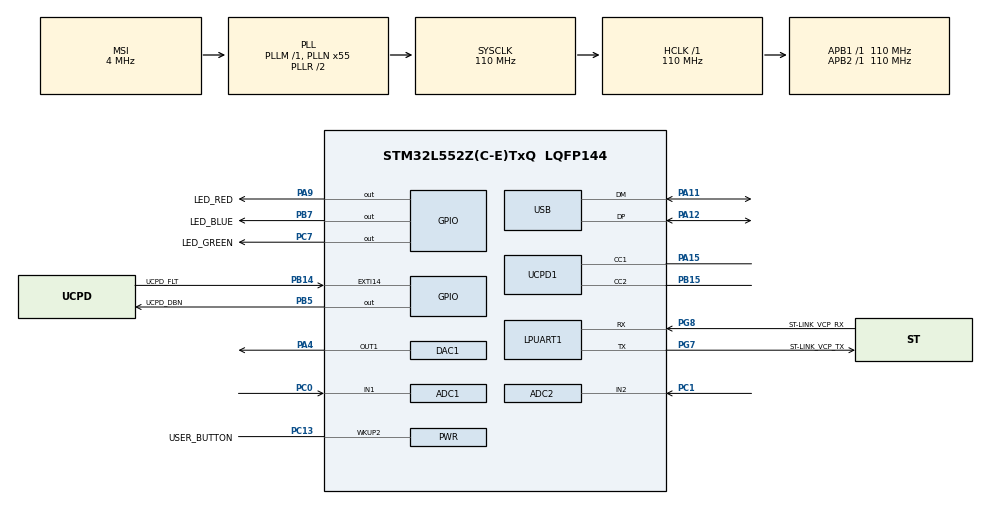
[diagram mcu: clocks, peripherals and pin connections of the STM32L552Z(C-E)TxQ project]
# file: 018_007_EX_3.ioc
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ADC1.Channel-1\#ChannelRegularConversion=ADC_CHANNEL_1
ADC1.NbrOfConversionFlag=1
ADC1.OffsetNumber-1\#ChannelRegularConversion=ADC_OFFSET_NONE
ADC1.Rank-1\#ChannelRegularConversion=1
ADC1.SamplingTime-1\#ChannelRegularConversion=ADC_SAMPLETIME_2CYCLES_5
ADC1.master=1
ADC2.Channel-0\#ChannelRegularConversion=ADC_CHANNEL_2
ADC2.NbrOfConversionFlag=1
ADC2.OffsetNumber-0\#ChannelRegularConversion=ADC_OFFSET_NONE
ADC2.Rank-0\#ChannelRegularConversion=1
ADC2.SamplingTime-0\#ChannelRegularConversion=ADC_SAMPLETIME_2CYCLES_5
Mcu.Family=STM32L5
Mcu.Name=STM32L552Z(C-E)TxQ
Mcu.Package=LQFP144
Mcu.TrustZone=disable
NVIC.PriorityGroup=NVIC_PRIORITYGROUP_3
PA11.Mode=Device
PA11.Signal=USB_DM
PA12.Mode=Device
PA12.Signal=USB_DP
PA13\ (JTMS/SWDIO).Mode=Trace_Asynchronous_SW
PA13\ (JTMS/SWDIO).Signal=DEBUG_JTMS-SWDIO
PA14\ (JTCK/SWCLK).Mode=Trace_Asynchronous_SW
PA14\ (JTCK/SWCLK).Signal=DEBUG_JTCK-SWCLK
PA15\ (JTDI).Mode=Source_AllSignals
PA15\ (JTDI).Signal=UCPD1_CC1
PA4.Signal=COMP_DAC11_group
PA9.GPIO_Label=LED_RED
PA9.Signal=GPIO_Output
PB14.GPIO_Label=UCPD_FLT
PB14.Signal=GPXTI14
PB15.Mode=Source_AllSignals
PB15.Signal=UCPD1_CC2
PB3\ (JTDO/TRACESWO).Mode=Trace_Asynchronous_SW
PB3\ (JTDO/TRACESWO).Signal=DEBUG_JTDO-SWO
PB5.GPIO_Label=UCPD_DBN
PB5.Signal=GPIO_Output
PB7.GPIO_Label=LED_BLUE
PB7.Signal=GPIO_Output
PC0.Signal=ADCx_IN1
PC1.Signal=ADCx_IN2
PC13.GPIO_Label=USER_BUTTON
PC13.Mode=WakeUp1
PC13.Signal=PWR_WKUP2
PC14-OSC32_IN\ (PC14).Mode=LSE-External-Oscillator
PC14-OSC32_IN\ (PC14).Signal=RCC_OSC32_IN
PC15-OSC32_OUT\ (PC15).Mode=LSE-External-Oscillator
PC15-OSC32_OUT\ (PC15).Signal=RCC_OSC32_OUT
PC2.GPIO_Label=VBUS_SENSE
PC2.Signal=ADCx_IN3
PC7.GPIO_Label=LED_GREEN
PC7.Signal=GPIO_Output
PG7.GPIO_Label=ST-LINK_VCP_TX
PG7.Mode=Asynchronous
PG7.Signal=LPUART1_TX
PG8.GPIO_Label=ST-LINK_VCP_RX
PG8.Mode=Asynchronous
PG8.Signal=LPUART1_RX
ProjectManager.HeapSize=0x200
ProjectManager.StackSize=0x400
ProjectManager.TargetToolchain=STM32CubeIDE
RCC.ADCCLockSelection=RCC_ADCCLKSOURCE_SYSCLK
RCC.ADCFreq_Value=110000000
RCC.AHBFreq_Value=110000000
RCC.APB1Freq_Value=110000000
RCC.APB1TimFreq_Value=110000000
RCC.APB2Freq_Value=110000000
RCC.APB2TimFreq_Value=110000000
RCC.CK48CLockSelection=RCC_USBCLKSOURCE_HSI48
RCC.CortexFreq_Value=110000000
RCC.HCLKFreq_Value=110000000
RCC.HSE_VALUE=8000000
RCC.HSI48_VALUE=48000000
RCC.HSI_VALUE=16000000
RCC.MSI_VALUE=4000000
RCC.PLLN=55
RCC.PLLSAI1N=24
RCC.RTCClockSelection=RCC_RTCCLKSOURCE_LSE
RCC.SYSCLKFreq_VALUE=110000000
RCC.SYSCLKSource=RCC_SYSCLKSOURCE_PLLCLK
RCC.USBFreq_Value=48000000
RCC.VCOOutputFreq_Value=220000000
SH.ADCx_IN1.0=ADC1_IN1,IN1-Single-Ended
SH.ADCx_IN2.0=ADC2_IN2,IN2-Single-Ended
SH.ADCx_IN3.0=ADC1_IN3
SH.COMP_DAC11_group.0=DAC1_OUT1,DAC_OUT1_ExtAndInt
VP_PWR_VS_DBSignals.Mode=DisableDeadBatterySignals
VP_RTC_VS_RTC_Activate.Mode=RTC_Enabled
board=NUCLEO-L552ZE-Q

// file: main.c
/* USER CODE BEGIN Header */
/**
  ******************************************************************************
  * @file           : main.c
  * @brief          : Main program body
  ******************************************************************************
  * @attention
  *
  * Copyright (c) 2022 STMicroelectronics.
  * All rights reserved.
  *
  * This software is licensed under terms that can be found in the LICENSE file
  * in the root directory of this software component.
  * If no LICENSE file comes with this software, it is provided AS-IS.
  *
  ******************************************************************************
  */
/* USER CODE END Header */
#include "main.h"

ADC_HandleTypeDef hadc1;
ADC_HandleTypeDef hadc2;

DAC_HandleTypeDef hdac1;

UART_HandleTypeDef hlpuart1;

RTC_HandleTypeDef hrtc;

PCD_HandleTypeDef hpcd_USB_FS;

void SystemClock_Config(void);
static void MX_GPIO_Init(void);
static void MX_ADC1_Init(void);
static void MX_LPUART1_UART_Init(void);
static void MX_RTC_Init(void);
static void MX_UCPD1_Init(void);
static void MX_USB_PCD_Init(void);
static void MX_ADC2_Init(void);
static void MX_DAC1_Init(void);

/* USER CODE BEGIN 0 */

uint16_t debug;
uint16_t debug1;
uint16_t debug2;
float debug3[1001]={};
uint16_t debug4;
uint16_t debug5;
uint16_t debug6;
float debug7 = 0;

uint16_t readValue;
float Vadc = 0;

uint16_t readValue2;
float Vadc2 = 0;

uint16_t change_voltage = 496;

double Vadc_values[1001] = {};
float b;
int d;
float f;

double temperature[1001] = {};

uint16_t output;

/* USER CODE END 0 */

int main(void)
{
  /* USER CODE BEGIN 1 */
	Vadc_values[0]=29;
	for(int a = 1; a < 1001; a++)
	{
		Vadc_values[a] = Vadc_values[a-1] + (21.5/20000) ;
	}

	temperature[0] = 20;
	for(int e = 1; e < 1001; e++)
	{
		temperature[e] = temperature[e-1] + 0.05;
	}

  /* USER CODE END 1 */

  /* MCU Configuration--------------------------------------------------------*/

  /* Reset of all peripherals, Initializes the Flash interface and the Systick. */
  HAL_Init();

  /* Configure the system clock */
  SystemClock_Config();

  /* Initialize all configured peripherals */
  MX_GPIO_Init();
  MX_ADC1_Init();
  MX_LPUART1_UART_Init();
  MX_RTC_Init();
  MX_UCPD1_Init();
  MX_USB_PCD_Init();
  MX_ADC2_Init();
  MX_DAC1_Init();
  /* USER CODE BEGIN 2 */

  // Enable the DAC channel
  HAL_DAC_Start(&hdac1, DAC_CHANNEL_1);

  /* USER CODE END 2 */

  /* Infinite loop */
  /* USER CODE BEGIN WHILE */
  while (1)
  {

  	  // Voltage can be change continuously using potentiometer
  	  // ADC1 and ADC2
      HAL_ADC_Start(&hadc1);
	  HAL_ADC_Start(&hadc2);

	  HAL_ADC_PollForConversion(&hadc1,1000000);
      HAL_ADC_PollForConversion(&hadc2,1000000);

      readValue = HAL_ADC_GetValue(&hadc1);
      readValue2 = HAL_ADC_GetValue(&hadc2);

      Vadc =  50.0 * readValue / 4095 + 20;
      Vadc2 = 3.3 * readValue2 / 4095;

      //For test
      debug7= change_voltage*1000.0/4095.0*75.0/1000.0;
      //For test

      HAL_ADC_Stop(&hadc1);
      HAL_ADC_Stop(&hadc2);

      HAL_Delay(100);

      // DAC
	  debug2 = HAL_DAC_SetValue(&hdac1, DAC1_CHANNEL_1, DAC_ALIGN_12B_R, change_voltage);

	  for(int c = 0; c < 1001; c++)
	  {
		  if(Vadc < temperature[c+1] && Vadc > temperature[c-1])
		  {
			  debug = c;
		  }

	  }

	  if(Vadc2*100/7*40 > Vadc_values[debug])
	  {
		  output=1;
	      if(output==1)
	      {
	    	  //change_voltage = readValue;
	    	  change_voltage = change_voltage - 1;
	      }
	  }

	  else if(Vadc2*100/7*40 < Vadc_values[debug])
	  {
		  output=2;
	      if(output==2 && change_voltage < 1800)
	      {
	    	  // DAC I ARTTIR
	    	  // change_voltage = readValue;
	    	  change_voltage = change_voltage + 1;
	      }
	  }

	  else if(Vadc2*100/7*40 == Vadc_values[debug])
	  {
		  output=0;
	      if(output==0)
	      {
	    	  // NOTHING
	      }
	  }
	  else
	  {
		  // ERROR
	  }

    /* USER CODE END WHILE */

  }
}

void SystemClock_Config(void)
{
  RCC_OscInitTypeDef RCC_OscInitStruct = {0};
  RCC_ClkInitTypeDef RCC_ClkInitStruct = {0};

  /** Configure the main internal regulator output voltage
  */
  if (HAL_PWREx_ControlVoltageScaling(PWR_REGULATOR_VOLTAGE_SCALE0) != HAL_OK)
  {
    Error_Handler();
  }

  /** Configure LSE Drive Capability
  */
  HAL_PWR_EnableBkUpAccess();
  __HAL_RCC_LSEDRIVE_CONFIG(RCC_LSEDRIVE_LOW);

  /** Initializes the RCC Oscillators according to the specified parameters
  * in the RCC_OscInitTypeDef structure.
  */
  RCC_OscInitStruct.OscillatorType = RCC_OSCILLATORTYPE_HSI48|RCC_OSCILLATORTYPE_LSE
                              |RCC_OSCILLATORTYPE_MSI;
  RCC_OscInitStruct.LSEState = RCC_LSE_ON;
  RCC_OscInitStruct.HSI48State = RCC_HSI48_ON;
  RCC_OscInitStruct.MSIState = RCC_MSI_ON;
  RCC_OscInitStruct.MSICalibrationValue = RCC_MSICALIBRATION_DEFAULT;
  RCC_OscInitStruct.MSIClockRange = RCC_MSIRANGE_6;
  RCC_OscInitStruct.PLL.PLLState = RCC_PLL_ON;
  RCC_OscInitStruct.PLL.PLLSource = RCC_PLLSOURCE_MSI;
  RCC_OscInitStruct.PLL.PLLM = 1;
  RCC_OscInitStruct.PLL.PLLN = 55;
  RCC_OscInitStruct.PLL.PLLP = RCC_PLLP_DIV7;
  RCC_OscInitStruct.PLL.PLLQ = RCC_PLLQ_DIV2;
  RCC_OscInitStruct.PLL.PLLR = RCC_PLLR_DIV2;
  if (HAL_RCC_OscConfig(&RCC_OscInitStruct) != HAL_OK)
  {
    Error_Handler();
  }

  /** Initializes the CPU, AHB and APB buses clocks
  */
  RCC_ClkInitStruct.ClockType = RCC_CLOCKTYPE_HCLK|RCC_CLOCKTYPE_SYSCLK
                              |RCC_CLOCKTYPE_PCLK1|RCC_CLOCKTYPE_PCLK2;
  RCC_ClkInitStruct.SYSCLKSource = RCC_SYSCLKSOURCE_PLLCLK;
  RCC_ClkInitStruct.AHBCLKDivider = RCC_SYSCLK_DIV1;
  RCC_ClkInitStruct.APB1CLKDivider = RCC_HCLK_DIV1;
  RCC_ClkInitStruct.APB2CLKDivider = RCC_HCLK_DIV1;

  if (HAL_RCC_ClockConfig(&RCC_ClkInitStruct, FLASH_LATENCY_5) != HAL_OK)
  {
    Error_Handler();
  }
}

static void MX_ADC1_Init(void)
{

  ADC_MultiModeTypeDef multimode = {0};
  ADC_ChannelConfTypeDef sConfig = {0};

  /** Common config
  */
  hadc1.Instance = ADC1;
  hadc1.Init.ClockPrescaler = ADC_CLOCK_ASYNC_DIV1;
  hadc1.Init.Resolution = ADC_RESOLUTION_12B;
  hadc1.Init.DataAlign = ADC_DATAALIGN_RIGHT;
  hadc1.Init.ScanConvMode = ADC_SCAN_DISABLE;
  hadc1.Init.EOCSelection = ADC_EOC_SINGLE_CONV;
  hadc1.Init.LowPowerAutoWait = DISABLE;
  hadc1.Init.ContinuousConvMode = DISABLE;
  hadc1.Init.NbrOfConversion = 1;
  hadc1.Init.DiscontinuousConvMode = DISABLE;
  hadc1.Init.ExternalTrigConv = ADC_SOFTWARE_START;
  hadc1.Init.ExternalTrigConvEdge = ADC_EXTERNALTRIGCONVEDGE_NONE;
  hadc1.Init.DMAContinuousRequests = DISABLE;
  hadc1.Init.Overrun = ADC_OVR_DATA_PRESERVED;
  hadc1.Init.OversamplingMode = DISABLE;
  if (HAL_ADC_Init(&hadc1) != HAL_OK)
  {
    Error_Handler();
  }

  /** Configure the ADC multi-mode
  */
  multimode.Mode = ADC_MODE_INDEPENDENT;
  if (HAL_ADCEx_MultiModeConfigChannel(&hadc1, &multimode) != HAL_OK)
  {
    Error_Handler();
  }

  /** Configure Regular Channel
  */
  sConfig.Channel = ADC_CHANNEL_1;
  sConfig.Rank = ADC_REGULAR_RANK_1;
  sConfig.SamplingTime = ADC_SAMPLETIME_2CYCLES_5;
  sConfig.SingleDiff = ADC_SINGLE_ENDED;
  sConfig.OffsetNumber = ADC_OFFSET_NONE;
  sConfig.Offset = 0;
  if (HAL_ADC_ConfigChannel(&hadc1, &sConfig) != HAL_OK)
  {
    Error_Handler();
  }

}

static void MX_ADC2_Init(void)
{

  ADC_ChannelConfTypeDef sConfig = {0};

  /** Common config
  */
  hadc2.Instance = ADC2;
  hadc2.Init.ClockPrescaler = ADC_CLOCK_ASYNC_DIV1;
  hadc2.Init.Resolution = ADC_RESOLUTION_12B;
  hadc2.Init.DataAlign = ADC_DATAALIGN_RIGHT;
  hadc2.Init.ScanConvMode = ADC_SCAN_DISABLE;
  hadc2.Init.EOCSelection = ADC_EOC_SINGLE_CONV;
  hadc2.Init.LowPowerAutoWait = DISABLE;
  hadc2.Init.ContinuousConvMode = DISABLE;
  hadc2.Init.NbrOfConversion = 1;
  hadc2.Init.DiscontinuousConvMode = DISABLE;
  hadc2.Init.ExternalTrigConv = ADC_SOFTWARE_START;
  hadc2.Init.ExternalTrigConvEdge = ADC_EXTERNALTRIGCONVEDGE_NONE;
  hadc2.Init.DMAContinuousRequests = DISABLE;
  hadc2.Init.Overrun = ADC_OVR_DATA_PRESERVED;
  hadc2.Init.OversamplingMode = DISABLE;
  if (HAL_ADC_Init(&hadc2) != HAL_OK)
  {
    Error_Handler();
  }

  /** Configure Regular Channel
  */
  sConfig.Channel = ADC_CHANNEL_2;
  sConfig.Rank = ADC_REGULAR_RANK_1;
  sConfig.SamplingTime = ADC_SAMPLETIME_2CYCLES_5;
  sConfig.SingleDiff = ADC_SINGLE_ENDED;
  sConfig.OffsetNumber = ADC_OFFSET_NONE;
  sConfig.Offset = 0;
  if (HAL_ADC_ConfigChannel(&hadc2, &sConfig) != HAL_OK)
  {
    Error_Handler();
  }

}

static void MX_DAC1_Init(void)
{

  DAC_ChannelConfTypeDef sConfig = {0};

  /** DAC Initialization
  */
  hdac1.Instance = DAC1;
  if (HAL_DAC_Init(&hdac1) != HAL_OK)
  {
    Error_Handler();
  }

  /** DAC channel OUT1 config
  */
  sConfig.DAC_SampleAndHold = DAC_SAMPLEANDHOLD_DISABLE;
  sConfig.DAC_Trigger = DAC_TRIGGER_NONE;
  sConfig.DAC_HighFrequency = DAC_HIGH_FREQUENCY_INTERFACE_MODE_ABOVE_80MHZ;
  sConfig.DAC_OutputBuffer = DAC_OUTPUTBUFFER_ENABLE;
  sConfig.DAC_ConnectOnChipPeripheral = DAC_CHIPCONNECT_ENABLE;
  sConfig.DAC_UserTrimming = DAC_TRIMMING_FACTORY;
  if (HAL_DAC_ConfigChannel(&hdac1, &sConfig, DAC_CHANNEL_1) != HAL_OK)
  {
    Error_Handler();
  }

}

static void MX_LPUART1_UART_Init(void)
{

  hlpuart1.Instance = LPUART1;
  hlpuart1.Init.BaudRate = 209700;
  hlpuart1.Init.WordLength = UART_WORDLENGTH_8B;
  hlpuart1.Init.StopBits = UART_STOPBITS_1;
  hlpuart1.Init.Parity = UART_PARITY_NONE;
  hlpuart1.Init.Mode = UART_MODE_TX_RX;
  hlpuart1.Init.HwFlowCtl = UART_HWCONTROL_NONE;
  hlpuart1.Init.OneBitSampling = UART_ONE_BIT_SAMPLE_DISABLE;
  hlpuart1.Init.ClockPrescaler = UART_PRESCALER_DIV1;
  hlpuart1.AdvancedInit.AdvFeatureInit = UART_ADVFEATURE_NO_INIT;
  hlpuart1.FifoMode = UART_FIFOMODE_DISABLE;
  if (HAL_UART_Init(&hlpuart1) != HAL_OK)
  {
    Error_Handler();
  }
  if (HAL_UARTEx_SetTxFifoThreshold(&hlpuart1, UART_TXFIFO_THRESHOLD_1_8) != HAL_OK)
  {
    Error_Handler();
  }
  if (HAL_UARTEx_SetRxFifoThreshold(&hlpuart1, UART_RXFIFO_THRESHOLD_1_8) != HAL_OK)
  {
    Error_Handler();
  }
  if (HAL_UARTEx_DisableFifoMode(&hlpuart1) != HAL_OK)
  {
    Error_Handler();
  }

}

static void MX_RTC_Init(void)
{

  RTC_PrivilegeStateTypeDef privilegeState = {0};

  /** Initialize RTC Only
  */
  hrtc.Instance = RTC;
  hrtc.Init.HourFormat = RTC_HOURFORMAT_24;
  hrtc.Init.AsynchPrediv = 127;
  hrtc.Init.SynchPrediv = 255;
  hrtc.Init.OutPut = RTC_OUTPUT_DISABLE;
  hrtc.Init.OutPutRemap = RTC_OUTPUT_REMAP_NONE;
  hrtc.Init.OutPutPolarity = RTC_OUTPUT_POLARITY_HIGH;
  hrtc.Init.OutPutType = RTC_OUTPUT_TYPE_OPENDRAIN;
  hrtc.Init.OutPutPullUp = RTC_OUTPUT_PULLUP_NONE;
  if (HAL_RTC_Init(&hrtc) != HAL_OK)
  {
    Error_Handler();
  }
  privilegeState.rtcPrivilegeFull = RTC_PRIVILEGE_FULL_NO;
  privilegeState.backupRegisterPrivZone = RTC_PRIVILEGE_BKUP_ZONE_NONE;
  privilegeState.backupRegisterStartZone2 = RTC_BKP_DR0;
  privilegeState.backupRegisterStartZone3 = RTC_BKP_DR0;
  if (HAL_RTCEx_PrivilegeModeSet(&hrtc, &privilegeState) != HAL_OK)
  {
    Error_Handler();
  }

}

static void MX_UCPD1_Init(void)
{

  LL_GPIO_InitTypeDef GPIO_InitStruct = {0};

  /* Peripheral clock enable */
  LL_APB1_GRP2_EnableClock(LL_APB1_GRP2_PERIPH_UCPD1);

  LL_AHB2_GRP1_EnableClock(LL_AHB2_GRP1_PERIPH_GPIOB);
  LL_AHB2_GRP1_EnableClock(LL_AHB2_GRP1_PERIPH_GPIOA);
  /**UCPD1 GPIO Configuration
  PB15   ------> UCPD1_CC2
  PA15 (JTDI)   ------> UCPD1_CC1
  */
  GPIO_InitStruct.Pin = LL_GPIO_PIN_15;
  GPIO_InitStruct.Mode = LL_GPIO_MODE_ANALOG;
  GPIO_InitStruct.Pull = LL_GPIO_PULL_NO;
  LL_GPIO_Init(GPIOB, &GPIO_InitStruct);

  GPIO_InitStruct.Pin = LL_GPIO_PIN_15;
  GPIO_InitStruct.Mode = LL_GPIO_MODE_ANALOG;
  GPIO_InitStruct.Pull = LL_GPIO_PULL_NO;
  LL_GPIO_Init(GPIOA, &GPIO_InitStruct);

}

static void MX_USB_PCD_Init(void)
{

  hpcd_USB_FS.Instance = USB;
  hpcd_USB_FS.Init.dev_endpoints = 8;
  hpcd_USB_FS.Init.speed = PCD_SPEED_FULL;
  hpcd_USB_FS.Init.phy_itface = PCD_PHY_EMBEDDED;
  hpcd_USB_FS.Init.Sof_enable = DISABLE;
  hpcd_USB_FS.Init.low_power_enable = DISABLE;
  hpcd_USB_FS.Init.lpm_enable = DISABLE;
  hpcd_USB_FS.Init.battery_charging_enable = DISABLE;
  if (HAL_PCD_Init(&hpcd_USB_FS) != HAL_OK)
  {
    Error_Handler();
  }

}

static void MX_GPIO_Init(void)
{
  GPIO_InitTypeDef GPIO_InitStruct = {0};

  /* GPIO Ports Clock Enable */
  __HAL_RCC_GPIOC_CLK_ENABLE();
  __HAL_RCC_GPIOA_CLK_ENABLE();
  __HAL_RCC_GPIOB_CLK_ENABLE();
  __HAL_RCC_GPIOG_CLK_ENABLE();
  HAL_PWREx_EnableVddIO2();

  /*Configure GPIO pin Output Level */
  HAL_GPIO_WritePin(LED_GREEN_GPIO_Port, LED_GREEN_Pin, GPIO_PIN_RESET);

  /*Configure GPIO pin Output Level */
  HAL_GPIO_WritePin(LED_RED_GPIO_Port, LED_RED_Pin, GPIO_PIN_RESET);

  /*Configure GPIO pin Output Level */
  HAL_GPIO_WritePin(GPIOB, UCPD_DBN_Pin|LED_BLUE_Pin, GPIO_PIN_RESET);

  /*Configure GPIO pin : UCPD_FLT_Pin */
  GPIO_InitStruct.Pin = UCPD_FLT_Pin;
  GPIO_InitStruct.Mode = GPIO_MODE_IT_RISING;
  GPIO_InitStruct.Pull = GPIO_NOPULL;
  HAL_GPIO_Init(UCPD_FLT_GPIO_Port, &GPIO_InitStruct);

  /*Configure GPIO pin : LED_GREEN_Pin */
  GPIO_InitStruct.Pin = LED_GREEN_Pin;
  GPIO_InitStruct.Mode = GPIO_MODE_OUTPUT_PP;
  GPIO_InitStruct.Pull = GPIO_NOPULL;
  GPIO_InitStruct.Speed = GPIO_SPEED_FREQ_LOW;
  HAL_GPIO_Init(LED_GREEN_GPIO_Port, &GPIO_InitStruct);

  /*Configure GPIO pin : LED_RED_Pin */
  GPIO_InitStruct.Pin = LED_RED_Pin;
  GPIO_InitStruct.Mode = GPIO_MODE_OUTPUT_PP;
  GPIO_InitStruct.Pull = GPIO_NOPULL;
  GPIO_InitStruct.Speed = GPIO_SPEED_FREQ_LOW;
  HAL_GPIO_Init(LED_RED_GPIO_Port, &GPIO_InitStruct);

  /*Configure GPIO pins : UCPD_DBN_Pin LED_BLUE_Pin */
  GPIO_InitStruct.Pin = UCPD_DBN_Pin|LED_BLUE_Pin;
  GPIO_InitStruct.Mode = GPIO_MODE_OUTPUT_PP;
  GPIO_InitStruct.Pull = GPIO_NOPULL;
  GPIO_InitStruct.Speed = GPIO_SPEED_FREQ_LOW;
  HAL_GPIO_Init(GPIOB, &GPIO_InitStruct);

}

void Error_Handler(void)
{
  __disable_irq();
  while (1)
  {
  }
}
